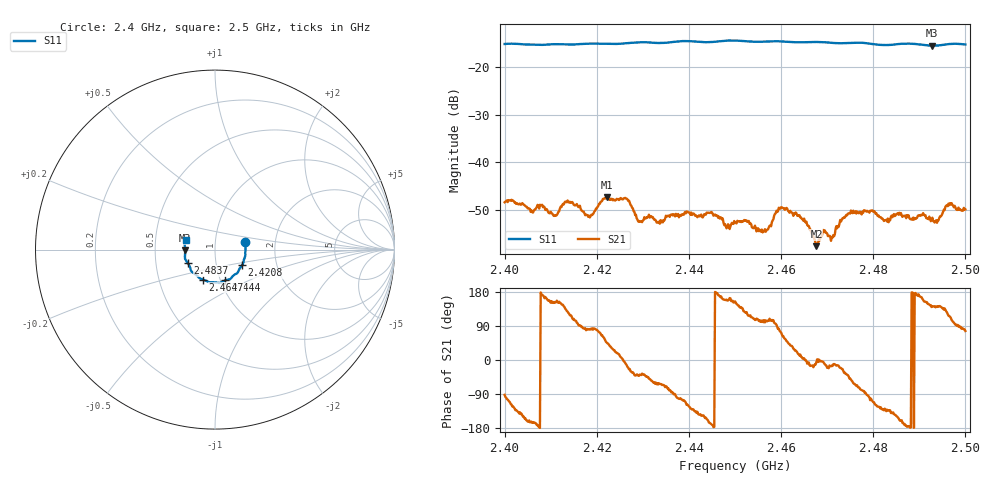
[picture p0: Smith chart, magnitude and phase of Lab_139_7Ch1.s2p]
# Hz S RI R 50
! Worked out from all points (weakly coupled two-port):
!   601 points, 2.4 GHz to 2.5 GHz, reference 50 ohm
!   highest |S21| = -47.18 dB at 2.4222 GHz (marker M1); lowest = -57.5 dB at 2.4677 GHz (marker M2)
!   lowest |S11| = -15.6 dB at 2.4928 GHz (marker M3), VSWR 1.40, Z = 35.8 - j0.364 ohm
!   |S11| at or under -10 dB: start of sweep to end of sweep
!   S12 and S22 are empty: the file has one direction only
!   S11 on the Smith chart (normalised r, x): 2.4 GHz: 1.40, +0.12; 2.4208 GHz: 1.33, -0.24; 2.444 GHz: 1.06, -0.37; 2.4647 GHz: 0.83, -0.29; 2.4837 GHz: 0.73, -0.11; 2.5 GHz: 0.72, +0.08
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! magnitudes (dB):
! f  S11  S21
! 2.4 GHz  -15.2  -48.3
! 2.4108 GHz  -15.3  -51.1
! 2.4135 GHz  -15.4  -48.3
! 2.4167 GHz  -15.2  -50.0
! 2.4187 GHz  -15.2  -51.2
! 2.4208 GHz  -15.2  -48.2
! 2.4222 GHz  -15.2  -47.2
! 2.4333 GHz  -15.0  -52.4
! 2.444 GHz  -14.9  -50.5
! 2.45 GHz  -14.5  -52.5
! 2.4565 GHz  -14.7  -53.9
! 2.46 GHz  -14.7  -49.4
! 2.4647 GHz  -14.9  -51.9
! 2.4667 GHz  -14.8  -54.9
! 2.4677 GHz  -14.8  -57.5
! 2.4712 GHz  -15.0  -55.7
! 2.4752 GHz  -15.0  -50.0
! 2.4833 GHz  -15.5  -52.5
! 2.4837 GHz  -15.4  -52.1
! 2.4928 GHz  -15.6  -51.5
! 2.4965 GHz  -15.3  -48.9
! 2.5 GHz  -15.4  -49.8
